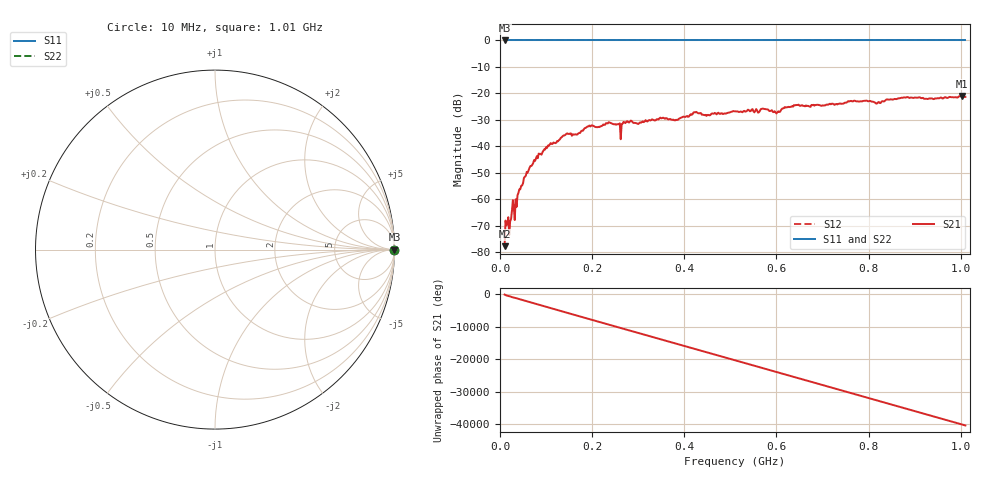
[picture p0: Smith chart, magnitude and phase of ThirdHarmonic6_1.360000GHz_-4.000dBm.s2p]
! 8/16/2025 3:20:58 PM
! C:\ANRITSUVNA\TEMP\TEMP.S2P
! CHANNEL.1
! TR.MEASUREMENT
! RAW.DATA
! RF.CORRECTION.OFF
! AVERAGING.OFF
! IF.BANDWIDTH: 5KHZ
! SWEEPTYPE:  FREQ.SWEEP(Linear)
! Reference Plane Port Info
! PORT:  PORT1  PORT2
! DISTANCE:  0  m  0  m
! TIME:  0  s  0  s
! PHASE.OFFSET:  0  deg.  0  deg.
! LOSS:  0  dB  0  dB
! REF.LOSS:  0  dB  0  dB
! REF.FREQ:  0  Hz  0  Hz
! Power Info
! POWER:  -20  dBm  -20  dBm
! EFF.POWER:  -20  dBm  -20  dBm
! SOURCE.ATTEN:  0  dB  0  dB
! TEST.ATTEN:  0  dB  0  dB
# GHZ S RI R 50.0
! FREQ.GHZ  S11RE  S11IM  S21RE  S21IM  S12RE  S12IM  S22RE  S22IM
!; PortSelection: Port_12
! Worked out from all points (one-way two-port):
!   501 points, 10 MHz to 1.01 GHz, reference 50 ohm
!   highest |S21| = -21.01 dB at 1.002 GHz (marker M1); lowest = -77.8 dB at 10 MHz (marker M2)
!   lowest |S11| = 0.0 dB at 10 MHz (marker M3)
!   |S11| at or under -10 dB: nowhere
!   |S22| runs from 0.0 to 0.0 dB; largest |S21 - S12| = 1.1
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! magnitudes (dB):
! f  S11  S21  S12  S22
! 10 MHz  0.0  -77.8  0.0  0.0
! 14 MHz  0.0  -69.9  0.0  0.0
! 34 MHz  0.0  -60.0  0.0  0.0
! 42 MHz  0.0  -56.3  0.0  0.0
! 76 MHz  0.0  -45.5  0.0  0.0
! 140 MHz  0.0  -35.9  0.0  0.0
! 178 MHz  0.0  -34.1  0.0  0.0
! 234 MHz  0.0  -31.4  0.0  0.0
! 260 MHz  0.0  -31.4  0.0  0.0
! 272 MHz  0.0  -31.2  0.0  0.0
! 344 MHz  0.0  -29.8  0.0  0.0
! 382 MHz  0.0  -30.0  0.0  0.0
! 424 MHz  0.0  -27.2  0.0  0.0
! 452 MHz  0.0  -28.1  0.0  0.0
! 510 MHz  0.0  -26.8  0.0  0.0
! 572 MHz  0.0  -25.8  0.0  0.0
! 602 MHz  0.0  -27.1  0.0  0.0
! 642 MHz  0.0  -24.4  0.0  0.0
! 678 MHz  0.0  -24.5  0.0  0.0
! 844 MHz  0.0  -22.4  0.0  0.0
! 1.002 GHz  0.0  -21.0  0.0  0.0
! 1.01 GHz  0.0  -21.3  0.0  0.0
